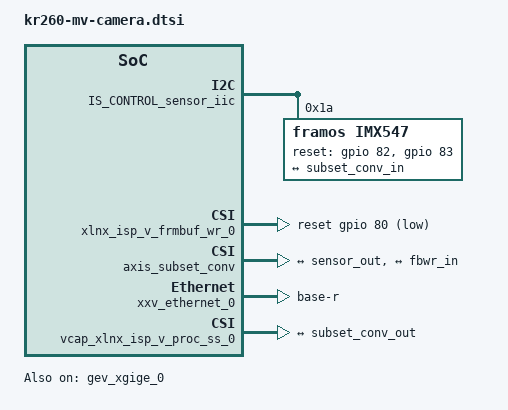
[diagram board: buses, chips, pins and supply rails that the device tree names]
// SPDX-License-Identifier: GPL-2.0
/*
 * dts file for Xilinx KR260 MV-Camera
 *
 * Copyright (C) 2021 - 2022, Xilinx, Inc.
 * Copyright (C) 2022, Advanced Micro Devices, Inc.
 *
 */

/dts-v1/;
/plugin/;

&fpga_full {
    #address-cells = <2>;
    #size-cells = <2>;
    firmware-name = "kr260-mv-camera.bit.bin";
    resets = <&zynqmp_reset 116>,<&zynqmp_reset 117>;
};

&amba {
	clocking0: clocking0 {
		#clock-cells = <0>;
		assigned-clock-rates = <99999001>;
		assigned-clocks = <&zynqmp_clk 71>;
		clock-output-names = "fabric_clk";
		clocks = <&zynqmp_clk 71>;
		compatible = "xlnx,fclk";
	};
	clocking1: clocking1 {
		#clock-cells = <0>;
		assigned-clock-rates = <199998001>;
		assigned-clocks = <&zynqmp_clk 72>;
		clock-output-names = "fabric_clk";
		clocks = <&zynqmp_clk 72>;
		compatible = "xlnx,fclk";
	};
	afi0: afi0 {
		compatible = "xlnx,afi-fpga";
		config-afi = <0 0>, <1 0>, <2 0>, <3 0>, <4 0>, <5 0>, <6 0>, <7 0>, <8 0>, <9 0>, <10 0>, <11 0>, <12 0>, <13 0>, <14 0xA00>, <15 0x00>;
		resets = <&zynqmp_reset 116>,
				<&zynqmp_reset 117>,
				<&zynqmp_reset 118>,
				<&zynqmp_reset 119>;
		reset-names = "pl0", "pl1", "pl2", "pl3";
	};

	CPU_axi_epc_0: axi_epc@a0000000 {
		/* This is a place holder node for a custom IP, user may need to update the entries */
		clock-names = "s_axi_aclk", "prh_clk";
		clocks = <&misc_clk_0>, <&misc_clk_0>;
		compatible = "xlnx,axi-epc-2.0";
		reg = <0x0 0xa0000000 0x0 0x10000>;
		xlnx,num-peripherals = <0x1>;
		xlnx,prh-clk-period-ps = <0x2710>;
		xlnx,prh-clk-support = <0x0>;
		xlnx,prh-max-adwidth = <0x20>;
		xlnx,prh-max-awidth = <0x10>;
		xlnx,prh-max-dwidth = <0x20>;
		xlnx,prh0-addr-th = <0x0>;
		xlnx,prh0-addr-tsu = <0x0>;
		xlnx,prh0-ads-width = <0x0>;
		xlnx,prh0-awidth = <0x10>;
		xlnx,prh0-bus-multiplex = <0x0>;
		xlnx,prh0-csn-th = <0x0>;
		xlnx,prh0-csn-tsu = <0x0>;
		xlnx,prh0-data-th = <0x0>;
		xlnx,prh0-data-tinv = <0x0>;
		xlnx,prh0-data-tout = <0x0>;
		xlnx,prh0-data-tsu = <0x0>;
		xlnx,prh0-dwidth = <0x20>;
		xlnx,prh0-dwidth-match = <0x0>;
		xlnx,prh0-fifo-access = <0x0>;
		xlnx,prh0-fifo-offset = <0x0>;
		xlnx,prh0-rd-cycle = <0x0>;
		xlnx,prh0-rdn-width = <0x0>;
		xlnx,prh0-rdy-tout = <0x1>;
		xlnx,prh0-rdy-width = <0x5f5e100>;
		xlnx,prh0-sync = <0x1>;
		xlnx,prh0-wr-cycle = <0x0>;
		xlnx,prh0-wrn-width = <0x0>;
		xlnx,prh1-addr-th = <0x0>;
		xlnx,prh1-addr-tsu = <0x0>;
		xlnx,prh1-ads-width = <0x0>;
		xlnx,prh1-awidth = <0x20>;
		xlnx,prh1-bus-multiplex = <0x0>;
		xlnx,prh1-csn-th = <0x0>;
		xlnx,prh1-csn-tsu = <0x0>;
		xlnx,prh1-data-th = <0x0>;
		xlnx,prh1-data-tinv = <0x0>;
		xlnx,prh1-data-tout = <0x0>;
		xlnx,prh1-data-tsu = <0x0>;
		xlnx,prh1-dwidth = <0x20>;
		xlnx,prh1-dwidth-match = <0x0>;
		xlnx,prh1-fifo-access = <0x0>;
		xlnx,prh1-fifo-offset = <0x0>;
		xlnx,prh1-rd-cycle = <0x0>;
		xlnx,prh1-rdn-width = <0x0>;
		xlnx,prh1-rdy-tout = <0x0>;
		xlnx,prh1-rdy-width = <0x0>;
		xlnx,prh1-sync = <0x0>;
		xlnx,prh1-wr-cycle = <0x0>;
		xlnx,prh1-wrn-width = <0x0>;
		xlnx,prh2-addr-th = <0x0>;
		xlnx,prh2-addr-tsu = <0x0>;
		xlnx,prh2-ads-width = <0x0>;
		xlnx,prh2-awidth = <0x20>;
		xlnx,prh2-bus-multiplex = <0x0>;
		xlnx,prh2-csn-th = <0x0>;
		xlnx,prh2-csn-tsu = <0x0>;
		xlnx,prh2-data-th = <0x0>;
		xlnx,prh2-data-tinv = <0x0>;
		xlnx,prh2-data-tout = <0x0>;
		xlnx,prh2-data-tsu = <0x0>;
		xlnx,prh2-dwidth = <0x20>;
		xlnx,prh2-dwidth-match = <0x0>;
		xlnx,prh2-fifo-access = <0x0>;
		xlnx,prh2-fifo-offset = <0x0>;
		xlnx,prh2-rd-cycle = <0x0>;
		xlnx,prh2-rdn-width = <0x0>;
		xlnx,prh2-rdy-tout = <0x0>;
		xlnx,prh2-rdy-width = <0x0>;
		xlnx,prh2-sync = <0x0>;
		xlnx,prh2-wr-cycle = <0x0>;
		xlnx,prh2-wrn-width = <0x0>;
		xlnx,prh3-addr-th = <0x0>;
		xlnx,prh3-addr-tsu = <0x0>;
		xlnx,prh3-ads-width = <0x0>;
		xlnx,prh3-awidth = <0x20>;
		xlnx,prh3-bus-multiplex = <0x0>;
		xlnx,prh3-csn-th = <0x0>;
		xlnx,prh3-csn-tsu = <0x0>;
		xlnx,prh3-data-th = <0x0>;
		xlnx,prh3-data-tinv = <0x0>;
		xlnx,prh3-data-tout = <0x0>;
		xlnx,prh3-data-tsu = <0x0>;
		xlnx,prh3-dwidth = <0x20>;
		xlnx,prh3-dwidth-match = <0x0>;
		xlnx,prh3-fifo-access = <0x0>;
		xlnx,prh3-fifo-offset = <0x0>;
		xlnx,prh3-rd-cycle = <0x0>;
		xlnx,prh3-rdn-width = <0x0>;
		xlnx,prh3-rdy-tout = <0x0>;
		xlnx,prh3-rdy-width = <0x0>;
		xlnx,prh3-sync = <0x0>;
		xlnx,prh3-wr-cycle = <0x0>;
		xlnx,prh3-wrn-width = <0x0>;
		xlnx,s-axi-clk-period-ps = <0x2710>;
	};
	misc_clk_0: misc_clk_0 {
		#clock-cells = <0>;
		clock-frequency = <99999000>;
		compatible = "fixed-clock";
	};
	IS_CONTROL_sensor_iic: i2c@a0010000 {
		#address-cells = <1>;
		#size-cells = <0>;
		clock-names = "s_axi_aclk";
		clocks = <&misc_clk_0>;
		compatible = "xlnx,axi-iic-2.1", "xlnx,xps-iic-2.00.a";
		interrupt-names = "iic2intc_irpt";
		interrupt-parent = <&gic>;
		interrupts = <0 91 4>;
		reg = <0x0 0xa0010000 0x0 0x10000>;
		imx547: sensor@1a {
			compatible = "framos,imx547";
			reg = <0x1a>;
			reset-gpios = <&gpio 82 0>, <&gpio 83 0>;
			#address-cells = <1>;
			#size-cells = <0>;
			port@0 {
				reg = <0>;
				sensor_out: endpoint {
					remote-endpoint = <&subset_conv_in>;
				};
			};
		};
	};
	SLVS_EC_slvs_ec_rx_0: slvs_ec_rx@a0020000 {
		/* This is a place holder node for a custom IP, user may need to update the entries */
		clock-names = "axi_aclk";
		clocks = <&misc_clk_0>;
		compatible = "xlnx,slvs-ec-rx-1.5";
		reg = <0x0 0xa0020000 0x0 0x10000>;
	};

	ppi_video@a0030000 {
		clock-names = "axi_aclk";
		clocks = <&misc_clk_0>;
		compatible = "xlnx,ppi-video-1.0";
		reg = <0x0 0xa0030000 0x0 0x10000>;
		xlnx,s00-axi-addr-width = <0x4>;
		xlnx,s00-axi-data-width = <0x20>;
	};

	gev_framebuf_0: framebuf@a0040000 {
		/* This is a place holder node for a custom IP, user may need to update the entries */
		compatible = "xlnx,framebuf-2.1.2";
		interrupt-names = "sys_irq";
		interrupt-parent = <&gic>;
		interrupts = <0 89 4>;
		reg = <0x0 0xa0040000 0x0 0x10000>;
	};
	gev_gendcip_0: gendcip@a0008000 {
		/* This is a place holder node for a custom IP, user may need to update the entries */
		clock-names = "s0_axi_aclk", "s1_axis_aclk";
		clocks = <&misc_clk_0>, <&misc_clk_1>;
		compatible = "xlnx,gendcip-1.0.3";
		reg = <0x0 0xa0008000 0x0 0x8000>;
	};
	misc_clk_1: misc_clk_1 {
		#clock-cells = <0>;
		clock-frequency = <237600000>;
		compatible = "fixed-clock";
	};
	gev_xgige_0: xgige@a0060000 {
		clock-names = "s0_axi_aclk", "rx_axis_aclk";
		clocks = <&misc_clk_0>, <&misc_clk_2>;
		compatible = "xlnx,axi-epc-2.0", "s2i,s2imac-epc";
		device_type = "network";
		interrupt-names = "sys_irq";
		interrupt-parent = <&gic>;
		interrupts = <0 90 4>;
		reg = <0x0 0xa0060000 0x0 0x10000 0x0 0xa0000000 0x0 0x10000 0x0 0xa0040000 0x0 0x10000>;
		reg-names = "core", "video", "framebuffer";
		clock-frequency = <0x5f5e100>;
		status = "okay";
		config-interface = "DEFAULT";
		phy-base-address = <0xa0070000>;
		phy-base-address-length = <0x10000>;
		local-mac-address = [00 0a 35 00 22 02];
	};
	misc_clk_2: misc_clk_2 {
		#clock-cells = <0>;
		clock-frequency = <100000000>;
		compatible = "fixed-clock";
	};
	xlnx_isp_v_frmbuf_wr_0: v_frmbuf_wr@b0050000 {
		#dma-cells = <1>;
		clock-names = "ap_clk";
		clocks = <&misc_clk_1>;
		compatible = "xlnx,v-frmbuf-wr-2.3", "xlnx,axi-frmbuf-wr-v2.2";
		interrupt-names = "interrupt";
		interrupt-parent = <&gic>;
		interrupts = <0 93 4>;
		reg = <0x0 0xb0050000 0x0 0x10000>;
		reset-gpios = <&gpio 80 1>;
		xlnx,dma-addr-width = <32>;
		xlnx,dma-align = <32>;
		xlnx,max-height = <1080>;
		xlnx,max-width = <1920>;
		xlnx,pixels-per-clock = <4>;
		xlnx,s-axi-ctrl-addr-width = <0x7>;
		xlnx,s-axi-ctrl-data-width = <0x20>;
		xlnx,vid-formats = "bgr888", "y8";
		xlnx,video-width = <8>;
	};

	axis_subset_conv: isp_subset_convertor {
		compatible = "xlnx,axis-subsetconv-1.1";
		ports {
			port@0 {
				reg = <0x0>;
				subset_conv_in: endpoint {
					remote-endpoint = <&sensor_out>;
				};
			};
			port@1 {
				reg = <0x1>;
				subset_conv_out: endpoint {
					remote-endpoint = <&fbwr_in>;
				};
			};
		};
	};

	xxv_ethernet_0: ethernet@a0070000 {
		clock-frequency = <100000000>;
		clock-names = "rx_core_clk_0", "dclk", "qpll0clk_in", "qpll0refclk_in", "qpll1clk_in", "qpll1refclk_in", "s_axi_aclk_0";
		clocks = <&misc_clk_3>, <&misc_clk_0>, <&misc_clk_2>, <&misc_clk_2>, <&misc_clk_2>, <&misc_clk_2>, <&misc_clk_0>;
		compatible = "xlnx,xxv-ethernet-4.0", "xlnx,xxv-ethernet-1.0";
		device_type = "network";
		local-mac-address = [00 0a 35 00 00 02];
		phy-mode = "base-r";
		reg = <0x0 0xa0070000 0x0 0x10000>;
		xlnx = <0x0>;
		xlnx,add-gt-cntrl-sts-ports = <0x0>;
		xlnx,anlt-clk-in-mhz = <0x64>;
		xlnx,axis-tdata-width = <0x40>;
		xlnx,axis-tkeep-width = <0x7>;
		xlnx,base-r-kr = "BASE-R";
		xlnx,clocking = "Asynchronous";
		xlnx,cmac-core-select = "CMACE4_X0Y0";
		xlnx,core = "Ethernet PCS/PMA 64-bit";
		xlnx,data-path-interface = "MII";
		xlnx,enable-datapath-parity = <0x0>;
		xlnx,enable-gt-board-interface = <0x1>;
		xlnx,enable-pipeline-reg = <0x0>;
		xlnx,enable-preemption = <0x0>;
		xlnx,enable-preemption-fifo = <0x0>;
		xlnx,enable-rx-flow-control-logic = <0x0>;
		xlnx,enable-time-stamping = <0x0>;
		xlnx,enable-tx-flow-control-logic = <0x0>;
		xlnx,enable-vlane-adjust-mode = <0x0>;
		xlnx,family-chk = "zynquplus";
		xlnx,fast-sim-mode = <0x0>;
		xlnx,gt-diffctrl-width = <0x4>;
		xlnx,gt-drp-clk = "100.00";
		xlnx,gt-group-select = "Quad X0Y0";
		xlnx,gt-location = <0x1>;
		xlnx,gt-ref-clk-freq = "156.25";
		xlnx,gt-type = "GTH";
		xlnx,gtm-group-select = "NA";
		xlnx,include-auto-neg-lt-logic = "None";
		xlnx,include-axi4-interface = <0x1>;
		xlnx,include-fec-logic = <0x0>;
		xlnx,include-hybrid-cmac-rsfec-logic = <0x0>;
		xlnx,include-rsfec-logic = <0x0>;
		xlnx,include-shared-logic = <0x0>;
		xlnx,include-statistics-counters = <0x1>;
		xlnx,include-user-fifo = <0x0>;
		xlnx,ins-loss-nyq = <0x1e>;
		xlnx,lane1-gt-loc = "X0Y6";
		xlnx,lane2-gt-loc = "NA";
		xlnx,lane3-gt-loc = "NA";
		xlnx,lane4-gt-loc = "NA";
		xlnx,line-rate = <0xa>;
		xlnx,mii-ctrl-width = <0x8>;
		xlnx,mii-data-width = <0x40>;
		xlnx,num-of-cores = <0x1>;
		xlnx,ptp-clocking-mode = <0x0>;
		xlnx,ptp-operation-mode = <0x2>;
		xlnx,runtime-switch = <0x0>;
		xlnx,rx-eq-mode = "AUTO";
		xlnx,rxmem = <0x0>;
		xlnx,statistics-regs-type = <0x0>;
		xlnx,switch-1-10-25g = <0x0>;
		xlnx,sys-clk = <0xfa0>;
		xlnx,tx-latency-adjust = <0x0>;
		xlnx,tx-total-bytes-width = <0x4>;
		xlnx,xgmii-interface = <0x1>;
		zclock-names = "NULL";
		zclocks = "NULL";
		xxv_ethernet_0_mdio: mdio {
			#address-cells = <1>;
			#size-cells = <0>;
		};
	};
	misc_clk_3: misc_clk_3 {
		#clock-cells = <0>;
		clock-frequency = <156250000>;
		compatible = "fixed-clock";
	};
	vcap_xlnx_isp_v_proc_ss_0 {
		compatible = "xlnx,video";
		dma-names = "port0";
		dmas = <&xlnx_isp_v_frmbuf_wr_0 0>;
		vcap_portsxlnx_isp_v_proc_ss_0: ports {
			#address-cells = <1>;
			#size-cells = <0>;
			vcap_portxlnx_isp_v_proc_ss_0: port@0 {
				direction = "input";
				reg = <0>;
				fbwr_in: endpoint {
					remote-endpoint = <&subset_conv_out>;
				};
			};
		};
	};

	/* zocl */
	zocl: zyxclmm_drm {
		compatible = "xlnx,zocl";
		status = "okay";
		interrupt-parent = <&gic>;
		interrupts = <0 104  4>, <0 105  4>, <0 106  4>, <0 107  4>,
					<0 108  4>, <0 109  4>, <0 110  4>, <0 111  4>;
	};
};
